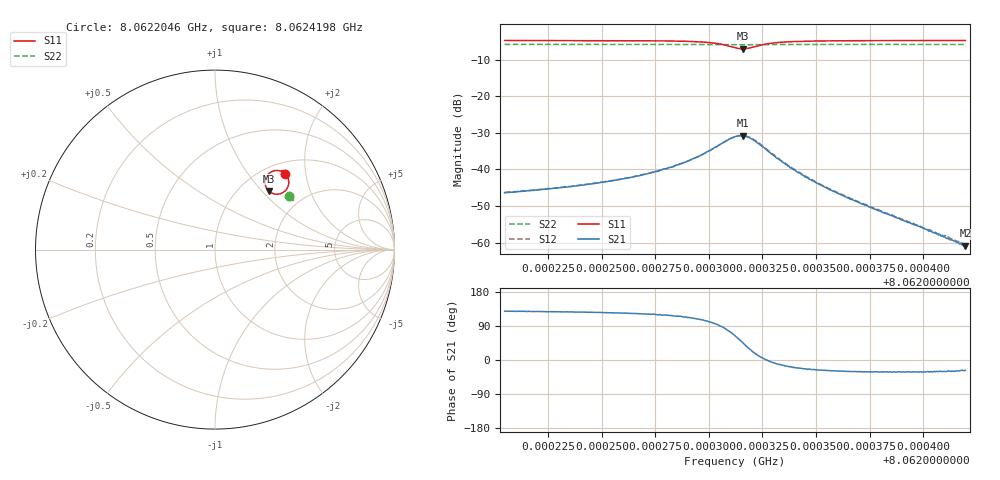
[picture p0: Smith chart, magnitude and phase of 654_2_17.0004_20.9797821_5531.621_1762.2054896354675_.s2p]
#  HZ  S  RI  R  50.00
! Rohde & Schwarz Vector Network Analyzer
! Rohde-Schwarz,ZNB20-2Port,1311601062101988,3.16
! Created: UTC 3/20/2024, 11:21:22 PM
! freq[Hz]  re:S11  im:S11  re:S21  im:S21  re:S12  im:S12  re:S22  im:S22
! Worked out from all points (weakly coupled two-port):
!   401 points, 8.0622046 GHz to 8.0624198 GHz, reference 50 ohm
!   highest |S21| = -30.77 dB at 8.0623159 GHz (marker M1); lowest = -60.8 dB at 8.0624198 GHz (marker M2)
!   lowest |S11| = -7.1 dB at 8.0623159 GHz (marker M3), VSWR 2.59, Z = 67.3 + j54.6 ohm
!   |S11| at or under -10 dB: nowhere
!   |S22| runs from -6.0 to -5.9 dB; largest |S21 - S12| = 0.0012
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8.06220458e9  0.3921 0.4214  -0.00302 0.00373  -0.00283 0.00396  0.4105 0.3003
8.06222664e9  0.3953 0.4179  -0.00333 0.00436  -0.0031 0.00459  0.4113 0.2991
8.06224063e9  0.3978 0.4147  -0.00362 0.00487  -0.00333 0.00518  0.4118 0.2982
8.06226215e9  0.4026 0.4072  -0.00421 0.0064  -0.00384 0.00666  0.4127 0.2968
8.06227667e9  0.4069 0.3979  -0.00466 0.00823  -0.00424 0.00869  0.4132 0.2955
8.06228367e9  0.409 0.3904  -0.00481 0.00987  -0.00444 0.0102  0.4134 0.2948
8.06229281e9  0.411 0.3749  -0.00487 0.0132  -0.00411 0.0133  0.4135 0.2938
8.06229712e9  0.4101 0.3633  -0.00434 0.0155  -0.00347 0.0157  0.4135 0.2933
8.06230465e9  0.3966 0.3335  -0.000607 0.0214  0.000352 0.0214  0.4128 0.2917
8.06230895e9  0.372 0.3144  0.00542 0.0248  0.0063 0.0245  0.4118 0.2911
8.06231218e9  0.3402 0.3086  0.0122 0.0252  0.0131 0.0248  0.4105 0.2911
8.06231595e9  0.2994 0.3264  0.0206 0.0204  0.0213 0.0198  0.4089 0.2919
8.0623181e9  0.2843 0.3479  0.0232 0.0152  0.024 0.0148  0.4087 0.2929
8.06232025e9  0.2787 0.3715  0.0238 0.0101  0.0247 0.00949  0.4087 0.294
8.06232778e9  0.3013 0.4246  0.0176 -0.000683  0.0179 -0.00156  0.4107 0.2956
8.062338e9  0.335 0.4402  0.00999 -0.00316  0.0101 -0.00398  0.4128 0.2955
8.06234823e9  0.3528 0.4405  0.00633 -0.00299  0.00642 -0.0034  0.4137 0.2947
8.06236544e9  0.3677 0.4369  0.00347 -0.00203  0.00343 -0.00228  0.415 0.2935
8.06238427e9  0.3759 0.4333  0.00205 -0.00127  0.00204 -0.00137  0.4158 0.2925
8.06240848e9  0.3821 0.4298  0.00106 -0.000616  0.00104 -0.000722  0.4169 0.291
8.06241117e9  0.3826 0.4296  0.000985 -0.00057  0.000978 -0.000656  0.4169 0.2908
8.06241978e9  0.384 0.4285  0.000808 -0.000412  0.000764 -0.000471  0.4172 0.2903
